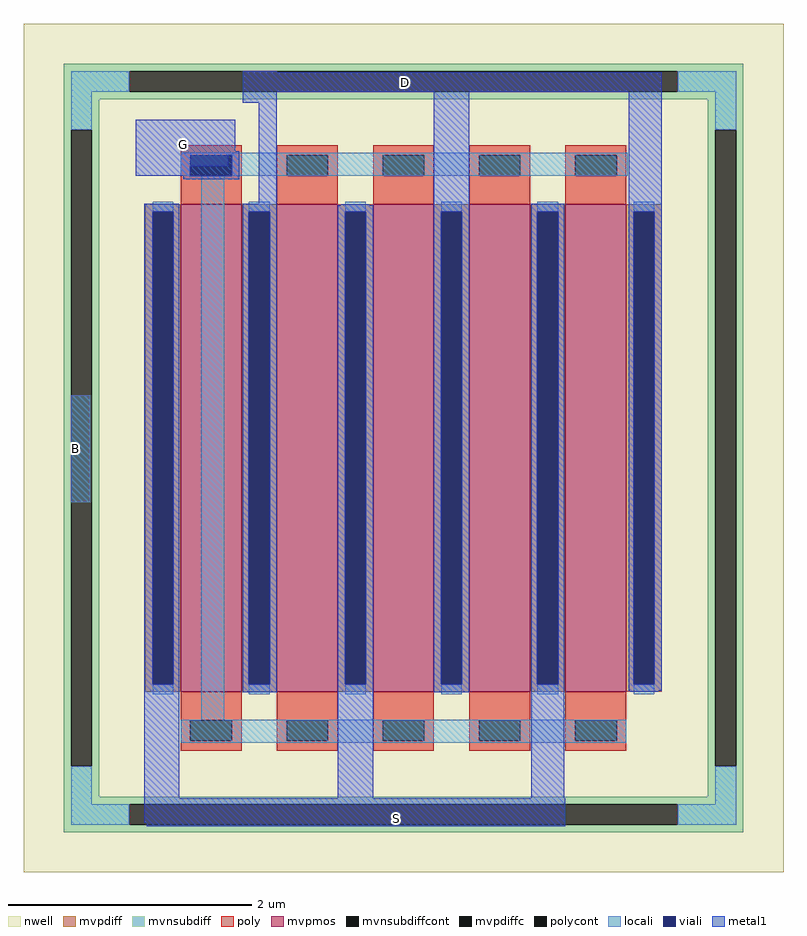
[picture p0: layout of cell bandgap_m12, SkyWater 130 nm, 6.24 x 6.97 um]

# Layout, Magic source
magic
tech sky130A
magscale 1 2
<< locali >>
rect -444 812 288 850
rect -626 276 -594 452
rect -446 -119 286 -81
<< metal1 >>
rect -120 952 -22 980
rect -506 828 -368 888
rect -134 -250 -28 -224
use sky130_fd_pr__pfet_g5v0d10v5_DQLY7V  sky130_fd_pr__pfet_g5v0d10v5_DQLY7V_0
transform 1 0 -80 0 1 365
box -624 -697 624 697
<< labels >>
flabel metal1 -76 966 -76 966 0 FreeSans 800 0 0 0 D
port 0 nsew
flabel metal1 -442 864 -442 864 0 FreeSans 800 0 0 0 G
port 1 nsew
flabel metal1 -92 -244 -92 -244 0 FreeSans 800 0 0 0 S
port 2 nsew
flabel locali -618 364 -618 364 0 FreeSans 800 0 0 0 B
port 3 nsew
<< properties >>
string FIXED_BBOX -529 -602 529 602
string gencell sky130_fd_pr__pfet_g5v0d10v5
string library sky130
string parameters w 4 l 0.50 m 1 nf 5 diffcov 100 polycov 100 guard 1 glc 1 grc 1 gtc 1 gbc 1 tbcov 100 rlcov 100 topc 1 botc 1 poverlap 0 doverlap 1 lmin 0.50 wmin 0.42 class mosfet compatible {sky130_fd_pr__pfet_01v8  sky130_fd_pr__pfet_01v8_lvt sky130_fd_pr__pfet_01v8_hvt  sky130_fd_pr__pfet_g5v0d10v5} full_metal 1 conn_gates 0 viasrc 100 viadrn 100 viagate 100 viagb 0 viagr 0 viagl 0 viagt 0 doports 1
<< end >>

# cell sky130_fd_pr__pfet_g5v0d10v5_DQLY7V: kit device sky130_fd_pr__pfet_g5v0d10v5, w 4 l 0.5 m 1 nf 5 diffcov 100 polycov 100 guard 1 glc 1 grc 1 gtc 1 gbc 1 tbcov 100 rlcov 100 topc 1 botc 1 poverlap 0 doverlap 1 lmin 0.50 wmin 0.42 class mosfet compatible {sky130_fd_pr__pfet_01v8 sky130_fd_pr__pfet_01v8_lvt sky130_fd_pr__pfet_01v8_hvt sky130_fd_pr__pfet_g5v0d10v5} full_metal 1 conn_gates 0 viasrc 100 viadrn 100 viagate 100 viagb 0 viagr 0 viagl 0 viagt 0 doports 1
